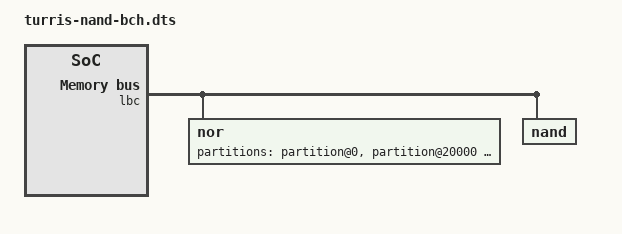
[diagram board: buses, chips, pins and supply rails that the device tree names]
/*
 * Turris RDB Device Tree Source
 *
 * Copyright 2013 CZ.NIC z.s.p.o. (http://www.nic.cz/)
 *
 * This program is free software; you can redistribute  it and/or modify it
 * under  the terms of  the GNU General  Public License as published by the
 * Free Software Foundation;  either version 2 of the  License, or (at your
 * option) any later version.
 */

/include/ "turris.dtsi"

/ {
	lbc: localbus@ffe05000 {
		nor@0,0 {
                        partition@0 {
                                read-only;
                        };

                        partition@20000 {
                                read-only;
                        };

                        partition@1C0000 {
                                read-only;
                        };

                        partition@340000 {
                                read-only;
                        };
                };
	
		nand@1,0 {
			nand-ecc-mode = "soft_bch";
			nand-ecc-step-size = <512>;
			nand-ecc-strength = <4>; 

		};
	};
};

